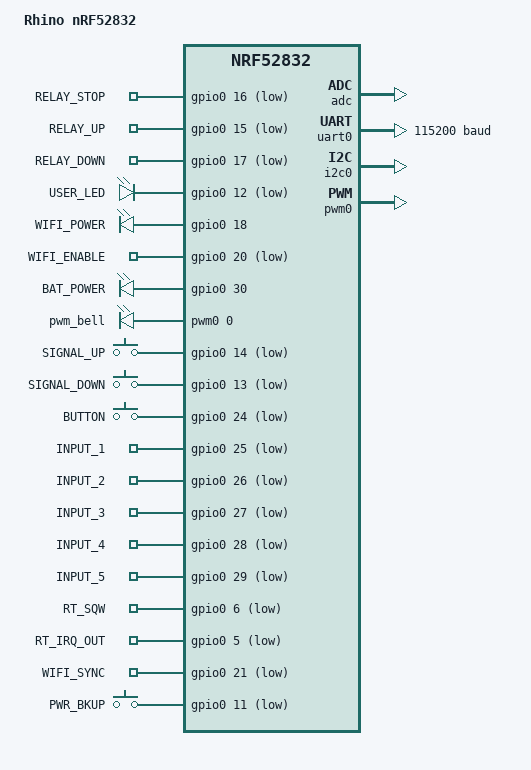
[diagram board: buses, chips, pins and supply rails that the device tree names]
// Copyright (c) 2023 Nordic Semiconductor ASA
// SPDX-License-Identifier: Apache-2.0

/dts-v1/;
#include <nordic/nrf52832_qfaa.dtsi>
#include "rhino_nrf52832-pinctrl.dtsi"

/ {
	model = "Rhino nRF52832";
	compatible = "rhino-nrf52832";

	chosen {
		zephyr,console = &uart0;
		zephyr,shell-uart = &uart0;
		zephyr,uart-mcumgr = &uart0;
		zephyr,bt-mon-uart = &uart0;
		zephyr,bt-c2h-uart = &uart0;
		zephyr,sram = &sram0;
		zephyr,flash = &flash0;
		zephyr,code-partition = &slot0_partition;
	};

	output {
		compatible = "gpio-leds";
		o_relay_stop: relay_stop {
			gpios = < &gpio0 16 GPIO_ACTIVE_LOW >;
			label = "RELAY_STOP";
		};
		o_relay_up: relay_up {
			gpios = < &gpio0 15 GPIO_ACTIVE_LOW >;
			label = "RELAY_UP";
		};
		o_relay_ldown: relay_down {
			gpios = < &gpio0 17 GPIO_ACTIVE_LOW >;
			label = "RELAY_DOWN";
		};
		o_led: led {
			gpios = < &gpio0 12 GPIO_ACTIVE_LOW >;
			label = "USER_LED";
		};
		o_wifi_power: wifi_power {
			gpios = < &gpio0 18 GPIO_ACTIVE_HIGH >;
			label = "WIFI_POWER";
		};
		o_wifi_enable: wifi_enable {
			gpios = < &gpio0 20 GPIO_ACTIVE_LOW >;
			label = "WIFI_ENABLE";
		};
		o_bat_power: bat_power{
			gpios = < &gpio0 30 GPIO_ACTIVE_HIGH>;
			label = "BAT_POWER";
		};
	};

	pwmleds {
		compatible = "pwm-leds";
		pwm_bell: p_bell {
			pwms = <&pwm0 0 PWM_MSEC(20) PWM_POLARITY_INVERTED>;
		};
	};

	
	input {
		compatible = "gpio-keys";
		i_sig_up: signal_up {
			gpios = < &gpio0 14 0x11 >;
			label = "SIGNAL_UP";
		};
		i_sig_down: signal_down {
			gpios = < &gpio0 13 0x11 >;
			label = "SIGNAL_DOWN";
		};
		i_button: button {
			gpios = < &gpio0 24 0x11 >;
			label = "BUTTON";
		};
		i_input_1: input_1 {
			gpios = < &gpio0 25 0x11 >;
			label = "INPUT_1";
		};
		i_input_2: input_2 {
			gpios = < &gpio0 26 0x11 >;
			label = "INPUT_2";
		};
		i_input_3: input_3 {
			gpios = < &gpio0 27 0x11 >;
			label = "INPUT_3";
		};
		i_input_4: input_4 {
			gpios = < &gpio0 28 0x11 >;
			label = "INPUT_4";
		};
		i_input_5: input_5 {
			gpios = < &gpio0 29 0x11 >;
			label = "INPUT_5";
		};
		i_rt_sqw: rt_sqw {
			gpios = < &gpio0 6 0x11 >;
			label = "RT_SQW";
		};
		i_rt_irq: rt_irq {
			gpios = < &gpio0 5 0x11 >;
			label = "RT_IRQ_OUT";
		};
		i_wifi_sync: wifi_sync {
			gpios = < &gpio0 21 0x11 >;
			label = "WIFI_SYNC";
		};
		i_pwr_bkup: pwr_bkup {
			gpios = < &gpio0 11 0x11>;
			label = "PWR_BKUP";
		};
	};

	/* These aliases are provided for compatibility with samples */
	aliases {
		watchdog0 = &wdt0;
	};
};

&adc {
	status = "okay";
};

&gpiote {
	status = "okay";
};

&gpio0 {
	status = "okay";
};

&uart0 {
	status = "okay";
	compatible = "nordic,nrf-uarte";
	current-speed = <115200>;
	pinctrl-0 = <&uart0_default>;
	pinctrl-1 = <&uart0_sleep>;
	pinctrl-names = "default", "sleep";
};

&i2c0 {
	compatible = "nordic,nrf-twi";
	status = "okay";
	pinctrl-0 = <&i2c0_default>;
	pinctrl-1 = <&i2c0_sleep>;
	pinctrl-names = "default", "sleep";
};

&pwm0 {
	status = "okay";
	pinctrl-0 = <&pwm0_default>;
	pinctrl-1 = <&pwm0_sleep>;
	pinctrl-names = "default", "sleep";
};

&flash0 {
	partitions {
		compatible = "fixed-partitions";
		#address-cells = <1>;
		#size-cells = <1>;

		boot_partition: partition@0 {
			label = "mcuboot";
			reg = <0x0 0x28000>;
		};
		slot0_partition: partition@28000 {
			label = "image-0";
			reg = < 0x28000 0x4d000 >;
		};
		slot1_partition: partition@3e000 {
			label = "image-1";
			reg = <0x3e000 0x32000>;
		};
		storage_partition: partition@75000 {
			label = "storage";
			reg = < 0x75000 0xa000 >;
		};
	};
};
